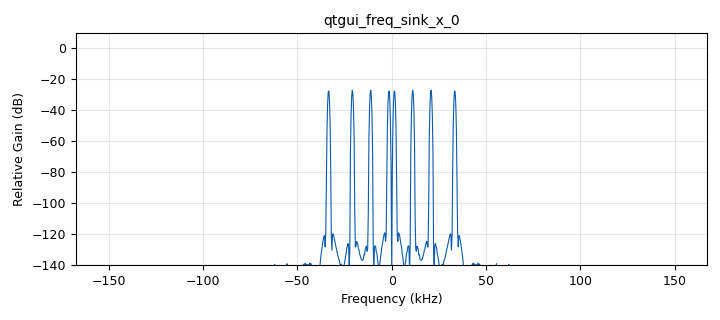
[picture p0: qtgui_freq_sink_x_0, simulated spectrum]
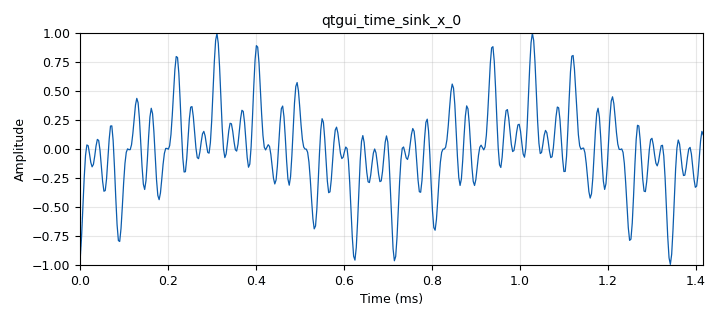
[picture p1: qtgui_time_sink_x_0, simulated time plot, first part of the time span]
options:
  parameters:
    author: Linda
    generate_options: qt_gui
    id: Hi
    output_language: python
    title: Not titled yet
  states: {}

blocks:
- name: freq_a
  id: variable_qtgui_range
  parameters:
    label: Frequency
    start: '2000'
    step: '1000'
    stop: '40000'
    value: '16000'
  states: {}
- name: freq_b
  id: variable_qtgui_range
  parameters:
    label: FrecuencyB
    start: '2000'
    step: '1000'
    stop: '40000'
    value: '6300'
  states: {}
- name: freq_c
  id: variable_qtgui_range
  parameters:
    label: FrecuencyC
    start: '2000'
    step: '1000'
    stop: '40000'
    value: '11150'
  states: {}
- name: samp_rate
  id: variable_qtgui_range
  parameters:
    label: Frecuencia de muestreo
    start: '1000'
    step: '1000'
    stop: '800000'
    value: '334500'
  states: {}
- name: analog_sig_source_x_0
  id: analog_sig_source_x
  parameters:
    amp: '1'
    freq: freq_a
    offset: '0'
    phase: '0'
    samp_rate: samp_rate
    type: float
    waveform: analog.GR_COS_WAVE
  states: {}
- name: analog_sig_source_x_0_0
  id: analog_sig_source_x
  parameters:
    amp: '1'
    freq: freq_b
    offset: '0'
    phase: '0'
    samp_rate: samp_rate
    type: float
    waveform: analog.GR_COS_WAVE
  states: {}
- name: analog_sig_source_x_0_1
  id: analog_sig_source_x
  parameters:
    amp: '1'
    freq: freq_c
    offset: '0'
    phase: '0'
    samp_rate: samp_rate
    type: float
    waveform: analog.GR_COS_WAVE
  states: {}
- name: blocks_multiply_xx_0
  id: blocks_multiply_xx
  parameters:
    num_inputs: '3'
    type: float
  states: {}
- name: blocks_throttle_0
  id: blocks_throttle
  parameters:
    samples_per_second: samp_rate
    type: float
  states: {}
- name: qtgui_freq_sink_x_0
  id: qtgui_freq_sink_x
  parameters:
    bw: samp_rate
    fc: '0'
    fftsize: '1024'
    type: float
  states: {}
- name: qtgui_time_sink_x_0
  id: qtgui_time_sink_x
  parameters:
    size: '1024'
    srate: samp_rate
    type: float
  states: {}

connections:
- [analog_sig_source_x_0, '0', blocks_multiply_xx_0, '0']
- [analog_sig_source_x_0_0, '0', blocks_multiply_xx_0, '1']
- [analog_sig_source_x_0_1, '0', blocks_multiply_xx_0, '2']
- [blocks_multiply_xx_0, '0', blocks_throttle_0, '0']
- [blocks_throttle_0, '0', qtgui_freq_sink_x_0, '0']
- [blocks_throttle_0, '0', qtgui_time_sink_x_0, '0']

metadata:
  file_format: 1
